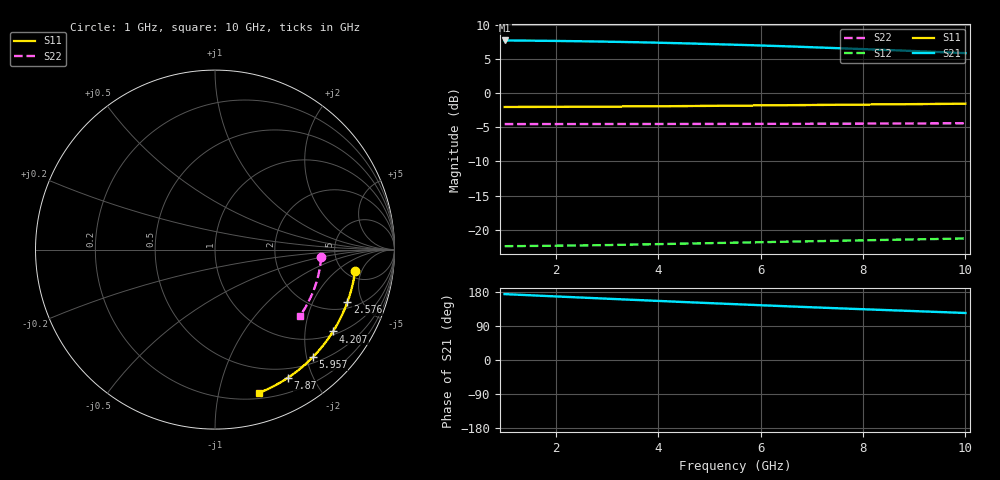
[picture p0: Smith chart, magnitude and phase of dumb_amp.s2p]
!2-port S-parameter file
!Title: ** sch_path: /home/andylithia/openmpw/project-yatsuhashi-chip1/xschem/dumb_amp_1.sch
!Generated by ngspice at Wed Aug  3 22:30:36  2022
# Hz S RI R 50
!freq  ReS11  ImS11  ReS21  ImS21  ReS12  ImS12  ReS22  ImS22
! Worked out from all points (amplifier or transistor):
!   1001 points, 1 GHz to 10 GHz, reference 50 ohm
!   highest |S21| = 7.7 dB at 1 GHz (marker M1)
!   |S21| within 3 dB of that: start of sweep to end of sweep
!   unconditionally stable (mu >= 1): start of sweep to 8.351 GHz
!   at 1.466 GHz: K = 1.21, MAG = 12.2 dB, |S12| = -22.4 dB
!   at 3.162 GHz: K = 1.18, MAG = 12.3 dB, |S12| = -22.2 dB
!   at 10 GHz: K = 0.95, MSG = 13.5 dB, |S12| = -21.3 dB
!   S11 on the Smith chart (normalised r, x): 1 GHz: 6.11, -3.80; 2.576 GHz: 2.39, -3.78; 4.207 GHz: 1.11, -2.81; 5.957 GHz: 0.61, -2.12; 7.87 GHz: 0.38, -1.65; 10 GHz: 0.25, -1.32
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1e9  0.7812 -0.1169  -2.405 0.2583  0.076 0.000949  0.5913 -0.0418
1.386756e9  0.7739 -0.1615  -2.387 0.3565  0.0762 0.00129  0.59 -0.0578
1.753881e9  0.7649 -0.2029  -2.364 0.4477  0.0764 0.00161  0.5884 -0.073
2.113489e9  0.754 -0.2432  -2.337 0.5358  0.0766 0.00188  0.5864 -0.0879
2.500345e9  0.7404 -0.2851  -2.303 0.6272  0.077 0.00218  0.5839 -0.1036
2.576321e9  0.7374 -0.2934  -2.295 0.6453  0.077 0.00222  0.5833 -0.1068
2.924152e9  0.7231 -0.33  -2.26 0.7244  0.0773 0.00245  0.5807 -0.1208
3.273407e9  0.7071 -0.3659  -2.22 0.8016  0.0777 0.00264  0.5777 -0.1348
3.655948e9  0.6881 -0.4037  -2.172 0.8824  0.0781 0.00282  0.5741 -0.1499
4.008667e9  0.6691 -0.4374  -2.125 0.9538  0.0785 0.00294  0.5704 -0.1637
4.207266e9  0.6579 -0.4558  -2.097 0.9925  0.0788 0.003  0.5683 -0.1715
4.841724e9  0.6196 -0.5117  -2.002 1.109  0.0796 0.00309  0.5607 -0.1957
5.508077e9  0.5763 -0.5652  -1.894 1.217  0.0805 0.00308  0.5519 -0.2206
5.956621e9  0.5452 -0.5988  -1.818 1.284  0.0811 0.00297  0.5455 -0.237
6.456542e9  0.5099 -0.633  -1.731 1.35  0.0819 0.0028  0.5379 -0.2548
7.014553e9  0.4692 -0.6679  -1.631 1.415  0.0826 0.00251  0.529 -0.2743
7.498942e9  0.4331 -0.6954  -1.544 1.464  0.0833 0.00218  0.5209 -0.2907
7.870458e9  0.405 -0.7149  -1.475 1.498  0.0838 0.00185  0.5142 -0.3035
8.51138e9  0.3572 -0.7444  -1.36 1.546  0.0847 0.00131  0.5028 -0.3238
9.268298e9  0.3004 -0.7743  -1.224 1.59  0.0857 0.000482  0.4885 -0.3474
9.885531e9  0.2546 -0.7946  -1.116 1.615  0.0864 -0.000288  0.4764 -0.366
1e10  0.2461 -0.7981  -1.096 1.619  0.0865 -0.000444  0.4742 -0.3694
